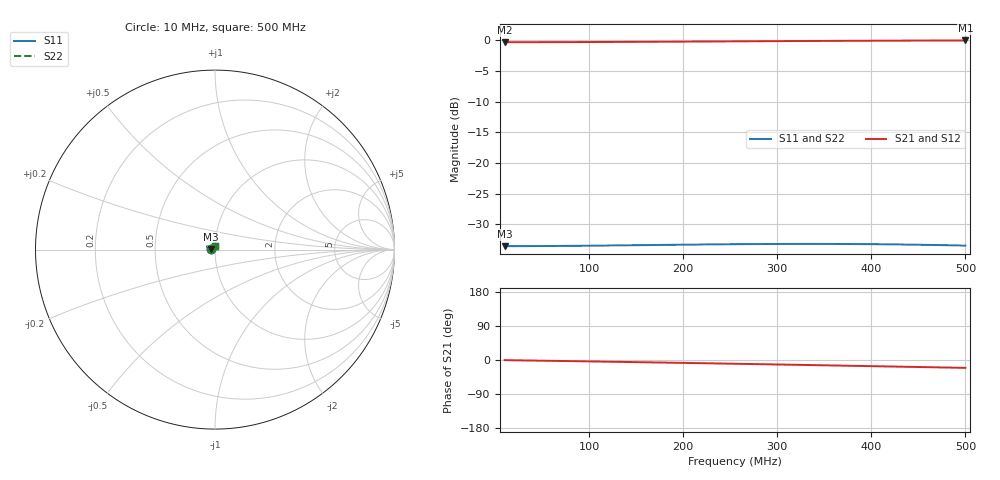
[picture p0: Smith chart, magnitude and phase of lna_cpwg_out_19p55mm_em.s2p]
! Created with skrf 2.1.0 (http://scikit-rf.org).
# Hz S RI R 50.0
!freq ReS11 ImS11 ReS21 ImS21 ReS12 ImS12 ReS22 ImS22
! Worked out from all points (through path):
!   101 points, 10 MHz to 500 MHz, reference 50 ohm
!   highest |S21| = -0.04 dB at 500 MHz (marker M1); lowest = -0.3 dB at 10 MHz (marker M2)
!   group delay of S21, straight-line fit = 116 ps
!   lowest |S11| = -33.6 dB at 10 MHz (marker M3), VSWR 1.04, Z = 48 + j0.0979 ohm
!   |S11| at or under -10 dB: start of sweep to end of sweep
!   |S22| runs from -33.6 to -33.2 dB; largest |S21 - S12| = 4.5e-16
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1e7  -0.0209 0.00102  0.9633 -0.00616  0.9633 -0.00616  -0.0209 0.00102
2.96e7  -0.0207 0.00301  0.9634 -0.0183  0.9634 -0.0183  -0.0207 0.00301
4.92e7  -0.0204 0.00496  0.9636 -0.0304  0.9636 -0.0304  -0.0204 0.00496
6.88e7  -0.0199 0.00685  0.9639 -0.0427  0.9639 -0.0427  -0.0199 0.00685
9.33e7  -0.019 0.00911  0.9643 -0.0582  0.9643 -0.0582  -0.019 0.00911
1.178e8  -0.018 0.0112  0.9647 -0.074  0.9647 -0.074  -0.018 0.0112
1.374e8  -0.017 0.0128  0.965 -0.0868  0.965 -0.0868  -0.017 0.0128
1.766e8  -0.0149 0.0155  0.9654 -0.1131  0.9654 -0.1131  -0.0149 0.0155
2.158e8  -0.0125 0.0176  0.9653 -0.1403  0.9653 -0.1403  -0.0125 0.0176
2.55e8  -0.01 0.0193  0.9644 -0.1684  0.9644 -0.1684  -0.01 0.0193
2.795e8  -0.00849 0.0201  0.9633 -0.1863  0.9633 -0.1863  -0.00849 0.0201
2.991e8  -0.0073 0.0206  0.9621 -0.2007  0.9621 -0.2007  -0.0073 0.0206
3.187e8  -0.00614 0.021  0.9606 -0.2153  0.9606 -0.2153  -0.00614 0.021
3.383e8  -0.00503 0.0213  0.9587 -0.2301  0.9587 -0.2301  -0.00503 0.0213
3.628e8  -0.0037 0.0215  0.956 -0.2486  0.956 -0.2486  -0.0037 0.0215
3.824e8  -0.0027 0.0216  0.9534 -0.2635  0.9534 -0.2635  -0.0027 0.0216
4.02e8  -0.00176 0.0217  0.9505 -0.2784  0.9505 -0.2784  -0.00176 0.0217
4.216e8  -0.000878 0.0216  0.9472 -0.2933  0.9472 -0.2933  -0.000878 0.0216
4.412e8  -5.65e-05 0.0216  0.9436 -0.3082  0.9436 -0.3082  -5.65e-05 0.0216
4.608e8  0.000702 0.0214  0.9397 -0.3231  0.9397 -0.3231  0.000702 0.0214
4.804e8  0.0014 0.0213  0.9354 -0.338  0.9354 -0.338  0.0014 0.0213
5e8  0.00203 0.0211  0.9308 -0.3528  0.9308 -0.3528  0.00203 0.0211
